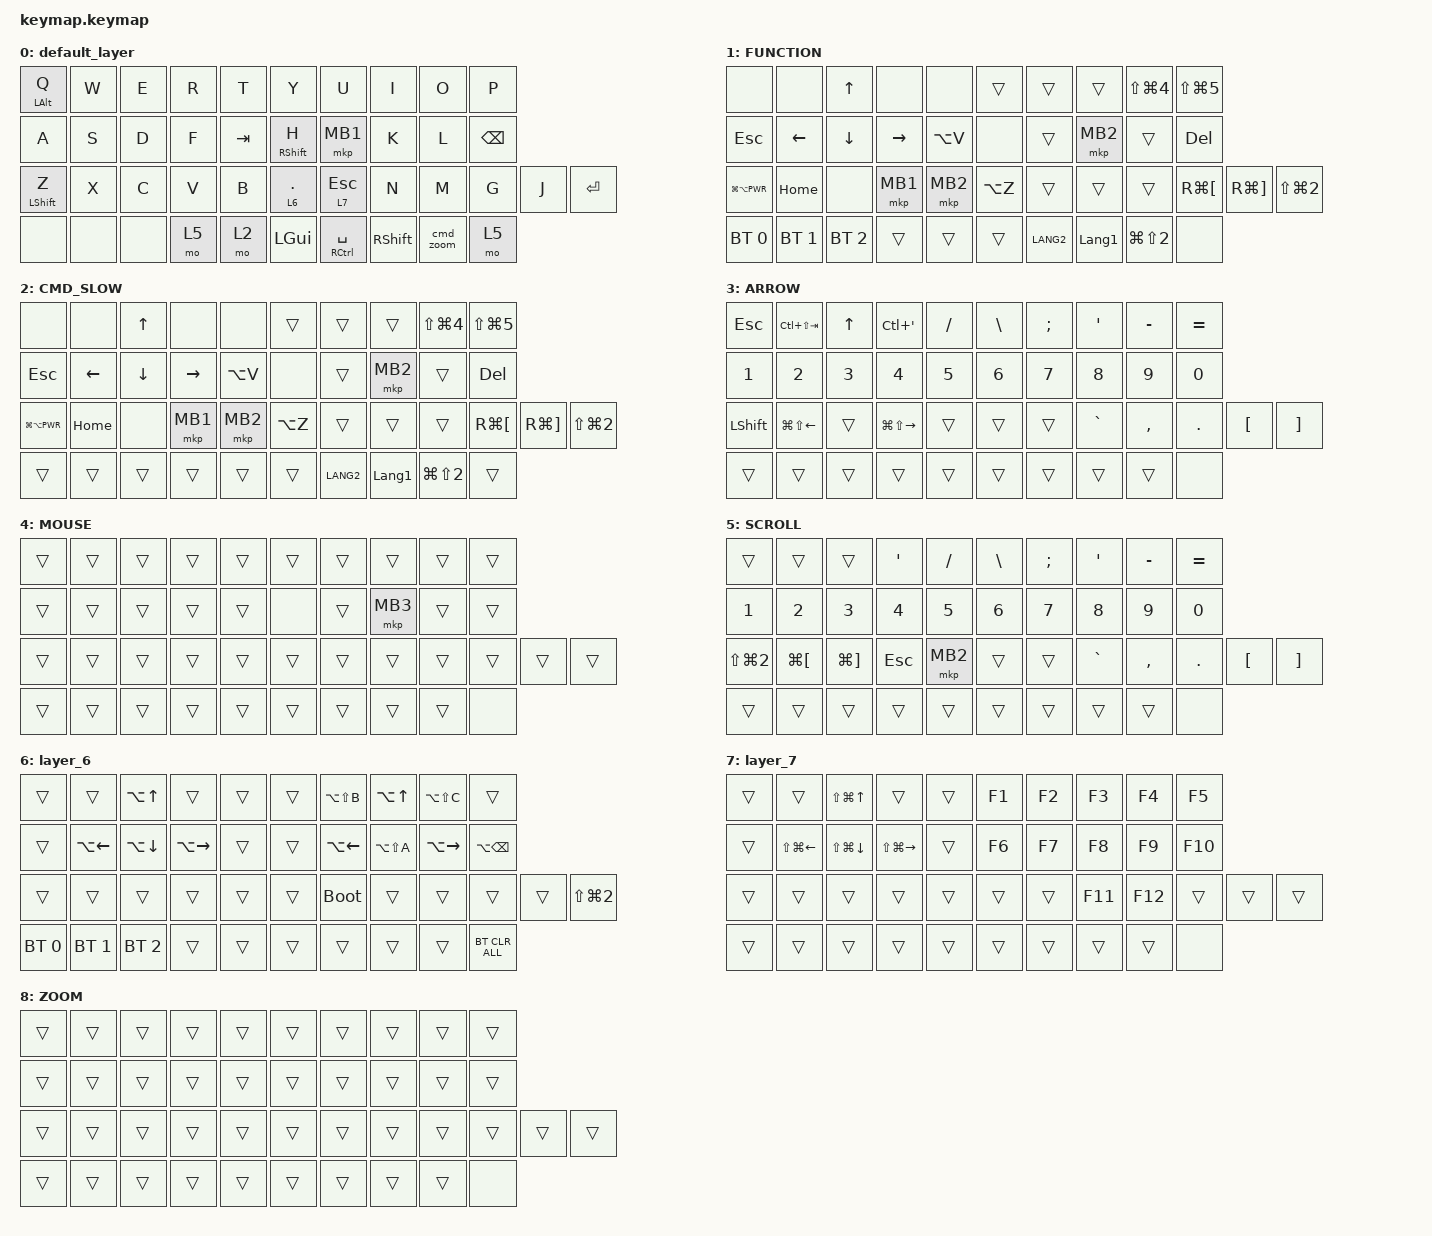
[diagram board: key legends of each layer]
#include <dt-bindings/zmk/mouse.h>
#include <behaviors.dtsi>
#include <dt-bindings/zmk/bt.h>
#include <dt-bindings/zmk/keys.h>
#include <dt-bindings/zmk/pointing.h>

#ifndef ZMK_POINTING_DEFAULT_SCRL_VAL

#define ZMK_POINTING_DEFAULT_SCRL_VAL 100

#endif

#define MOUSE 4
#define SCROLL 5
#define CMD_SLOW 2
#define ZOOM 8

&mt {
    flavor = "tap-preferred";
    quick-tap-ms = <0>;
    tapping-term-ms = <180>;
    require-prior-idle-ms = <150>;
};

&lt { tapping-term-ms = <180>; };

/ {
    combos {
        compatible = "zmk,combos";

        double_quotation {
            bindings = <&kp DOUBLE_QUOTES>;
            key-positions = <18 19>;
        };

        eq {
            bindings = <&kp EQUAL>;
            key-positions = <10 19>;
        };

        tab {
            bindings = <&kp TAB>;
            key-positions = <13 16>;
        };

        tab2 {
            bindings = <&kp TAB>;
            key-positions = <13 12>;
        };
    };

    macros {
        to_layer_0: to_layer_0 {
            compatible = "zmk,behavior-macro-one-param";
            #binding-cells = <1>;
            bindings = <&to 0 &macro_param_1to1 &kp MACRO_PLACEHOLDER>;
            label = "TO_LAYER_0";
        };

        to_layer_1: to_layer_1 {
            compatible = "zmk,behavior-macro-one-param";
            #binding-cells = <1>;
            bindings = <&to 1 &macro_param_1to1 &kp MACRO_PLACEHOLDER>;
            label = "TO_LAYER_1";
        };

        to_layer_5: to_layer_5 {
            compatible = "zmk,behavior-macro-one-param";
            #binding-cells = <1>;
            bindings = <&to 5 &macro_param_1to1 &kp MACRO_PLACEHOLDER>;
            label = "TO_LAYER_5";
        };

        to_layer_6: to_layer_6 {
            compatible = "zmk,behavior-macro-one-param";
            #binding-cells = <1>;
            bindings = <&to 6 &macro_param_1to1 &kp MACRO_PLACEHOLDER>;
            label = "TO_LAYER_6";
        };

        cmd_zoom: cmd_zoom {
            compatible = "zmk,behavior-macro";
            #binding-cells = <0>;
            label = "CMD_ZOOM";
            bindings =
                <&macro_press>,
                <&mo ZOOM &kp LEFT_COMMAND>,
                <&macro_pause_for_release>,
                <&macro_release>,
                <&kp LEFT_COMMAND &mo ZOOM>;
        };
    };

    behaviors {
        lt_to_layer_0: lt_to_layer_0 {
            compatible = "zmk,behavior-hold-tap";
            label = "LAYER_TAP_TO_0";
            bindings = <&mo>, <&to_layer_0>;

            #binding-cells = <2>;
            tapping-term-ms = <180>;
        };

        lt_to_layer_1: lt_to_layer_1 {
            compatible = "zmk,behavior-hold-tap";
            label = "LAYER_TAP_TO_1";
            bindings = <&mo>, <&to_layer_1>;

            #binding-cells = <2>;
            tapping-term-ms = <180>;
        };

        lt_to_layer_5: lt_to_layer_5 {
            compatible = "zmk,behavior-hold-tap";
            label = "LAYER_TAP_TO_5";
            bindings = <&mo>, <&to_layer_5>;

            #binding-cells = <2>;
            tapping-term-ms = <180>;
        };

        lt_to_layer_6: lt_to_layer_6 {
            compatible = "zmk,behavior-hold-tap";
            label = "LAYER_TAP_TO_6";
            bindings = <&mo>, <&to_layer_6>;

            #binding-cells = <2>;
            tapping-term-ms = <180>;
        };

        scroll_up_down: behavior_sensor_rotate_mouse_wheel_up_down {
            compatible = "zmk,behavior-sensor-rotate";
            #sensor-binding-cells = <0>;
            bindings = <&msc SCRL_DOWN>, <&msc SCRL_UP>;

            tap-ms = <20>;
        };

        hold_tap_shift: hold_tap_shift {
            compatible = "zmk,behavior-hold-tap";
            label = "Hold RIGHT_SHIFT, Tap Left Click";
            #binding-cells = <2>;
            tapping-term-ms = <180>;
            bindings = <&kp>, <&mkp>;
        };
    };

    keymap {
        compatible = "zmk,keymap";

        default_layer {
            bindings = <
&mt LEFT_ALT Q    &kp W  &kp E  &kp R  &kp T    &kp Y              &kp U                    &kp I            &kp O      &kp P
&kp A             &kp S  &kp D  &kp F  &kp TAB  &mt RIGHT_SHIFT H  &mkp MB1                 &kp K            &kp L      &kp BACKSPACE
&mt LEFT_SHIFT Z  &kp X  &kp C  &kp V  &kp B    &lt 6 PERIOD       &lt 7 ESCAPE             &kp N            &kp M      &kp G          &kp J  &kp ENTER
&none             &none  &none  &mo 5  &mo 2    &kp LEFT_GUI       &mt RIGHT_CONTROL SPACE  &kp RIGHT_SHIFT  &cmd_zoom  &mo 5
            >;
        };

        FUNCTION {
            bindings = <
&none              &none           &kp UP_ARROW    &none            &none      &trans     &trans     &trans          &kp LS(LG(NUMBER_4))  &kp LS(LG(NUMBER_5))
&kp ESC            &kp LEFT_ARROW  &kp DOWN_ARROW  &kp RIGHT_ARROW  &kp LA(V)  &none      &trans     &mkp MB2        &trans                &kp DELETE
&kp LG(LA(C_PWR))  &kp HOME        &none           &mkp MB1         &mkp MB2   &kp LA(Z)  &trans     &trans          &trans                &kp RG(LEFT_BRACKET)  &kp RG(RIGHT_BRACKET)  &kp LS(LG(NUMBER_2))
&bt BT_SEL 0       &bt BT_SEL 1    &bt BT_SEL 2    &trans           &trans     &trans     &kp LANG2  &kp LANGUAGE_1  &kp LG(LS(NUMBER_2))  &none
            >;
        };

        CMD_SLOW {
            bindings = <
&none              &none           &kp UP_ARROW    &none            &none      &trans     &trans     &trans          &kp LS(LG(NUMBER_4))  &kp LS(LG(NUMBER_5))
&kp ESC            &kp LEFT_ARROW  &kp DOWN_ARROW  &kp RIGHT_ARROW  &kp LA(V)  &none      &trans     &mkp MB2        &trans                &kp DELETE
&kp LG(LA(C_PWR))  &kp HOME        &none           &mkp MB1         &mkp MB2   &kp LA(Z)  &trans     &trans          &trans                &kp RG(LEFT_BRACKET)  &kp RG(RIGHT_BRACKET)  &kp LS(LG(NUMBER_2))
&trans             &trans          &trans          &trans           &trans     &trans     &kp LANG2  &kp LANGUAGE_1  &kp LG(LS(NUMBER_2))  &trans
            >;
        };

        ARROW {
            bindings = <
&kp ESCAPE      &kp LC(LS(TAB))         &kp UP_ARROW  &kp LC(SQT)              &kp SLASH     &kp BACKSLASH  &kp SEMICOLON  &kp SQT       &kp MINUS     &kp EQUAL
&kp NUMBER_1    &kp NUMBER_2            &kp NUMBER_3  &kp NUMBER_4             &kp NUMBER_5  &kp NUMBER_6   &kp N7         &kp NUMBER_8  &kp NUMBER_9  &kp NUMBER_0
&kp LEFT_SHIFT  &kp LG(LS(LEFT_ARROW))  &trans        &kp LG(LS(RIGHT_ARROW))  &trans        &trans         &trans         &kp GRAVE     &kp COMMA     &kp PERIOD    &kp LEFT_BRACKET  &kp RIGHT_BRACKET
&trans          &trans                  &trans        &trans                   &trans        &trans         &trans         &trans        &trans        &none
            >;
        };

        MOUSE {
            bindings = <
&trans  &trans  &trans  &trans  &trans  &trans  &trans  &trans    &trans  &trans
&trans  &trans  &trans  &trans  &trans  &none   &trans  &mkp MB3  &trans  &trans
&trans  &trans  &trans  &trans  &trans  &trans  &trans  &trans    &trans  &trans  &trans  &trans
&trans  &trans  &trans  &trans  &trans  &trans  &trans  &trans    &trans  &none
            >;
        };

        SCROLL {
            bindings = <
&trans                &trans                &trans                 &kp SQT       &kp SLASH     &kp BACKSLASH  &kp SEMICOLON  &kp SQT       &kp MINUS     &kp EQUAL
&kp NUMBER_1          &kp NUMBER_2          &kp NUMBER_3           &kp NUMBER_4  &kp NUMBER_5  &kp NUMBER_6   &kp NUMBER_7   &kp NUMBER_8  &kp NUMBER_9  &kp NUMBER_0
&kp LS(LG(NUMBER_2))  &kp LG(LEFT_BRACKET)  &kp LG(RIGHT_BRACKET)  &kp ESCAPE    &mkp MB2      &trans         &trans         &kp GRAVE     &kp COMMA     &kp PERIOD    &kp LEFT_BRACKET  &kp RIGHT_BRACKET
&trans                &trans                &trans                 &trans        &trans        &trans         &trans         &trans        &trans        &none
            >;
        };

        layer_6 {
            bindings = <
&trans        &trans              &kp LA(UP_ARROW)    &trans               &trans  &trans  &kp LA(LS(B))       &kp LA(UP_ARROW)  &kp LA(LS(C))        &trans
&trans        &kp LA(LEFT_ARROW)  &kp LA(DOWN_ARROW)  &kp LA(RIGHT_ARROW)  &trans  &trans  &kp LA(LEFT_ARROW)  &kp LA(LS(A))     &kp LA(RIGHT_ARROW)  &kp LA(BACKSPACE)
&trans        &trans              &trans              &trans               &trans  &trans  &bootloader         &trans            &trans               &trans             &trans  &kp LS(LG(NUMBER_2))
&bt BT_SEL 0  &bt BT_SEL 1        &bt BT_SEL 2        &trans               &trans  &trans  &trans              &trans            &trans               &bt BT_CLR_ALL
            >;
        };

        layer_7 {
            bindings = <
&trans  &trans                  &kp LS(LG(UP_ARROW))    &trans                   &trans  &kp F1  &kp F2  &kp F3   &kp F4   &kp F5
&trans  &kp LS(LG(LEFT_ARROW))  &kp LS(LG(DOWN_ARROW))  &kp LS(LG(RIGHT_ARROW))  &trans  &kp F6  &kp F7  &kp F8   &kp F9   &kp F10
&trans  &trans                  &trans                  &trans                   &trans  &trans  &trans  &kp F11  &kp F12  &trans   &trans  &trans
&trans  &trans                  &trans                  &trans                   &trans  &trans  &trans  &trans   &trans   &none
            >;
        };

        ZOOM {
            bindings = <
&trans  &trans  &trans  &trans  &trans  &trans  &trans  &trans  &trans  &trans
&trans  &trans  &trans  &trans  &trans  &trans  &trans  &trans  &trans  &trans
&trans  &trans  &trans  &trans  &trans  &trans  &trans  &trans  &trans  &trans  &trans  &trans
&trans  &trans  &trans  &trans  &trans  &trans  &trans  &trans  &trans  &none
            >;
        };
    };
};
